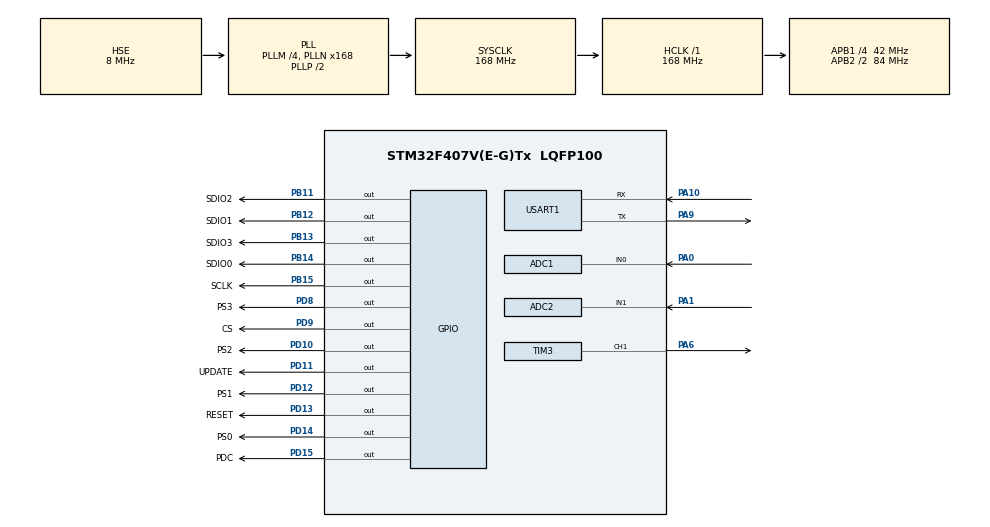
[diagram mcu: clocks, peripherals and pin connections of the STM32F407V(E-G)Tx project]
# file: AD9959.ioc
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ADC1.Channel-0\#ChannelRegularConversion=ADC_CHANNEL_0
ADC1.DMAContinuousRequests=ENABLE
ADC1.ExternalTrigConv=ADC_EXTERNALTRIGCONV_T3_TRGO
ADC1.NbrOfConversionFlag=1
ADC1.Rank-0\#ChannelRegularConversion=1
ADC1.Resolution=ADC_RESOLUTION_12B
ADC1.SamplingTime-0\#ChannelRegularConversion=ADC_SAMPLETIME_3CYCLES
ADC1.master=1
ADC2.Channel-0\#ChannelRegularConversion=ADC_CHANNEL_1
ADC2.DMAContinuousRequests=ENABLE
ADC2.ExternalTrigConv=ADC_EXTERNALTRIGCONV_T3_TRGO
ADC2.NbrOfConversionFlag=1
ADC2.ScanConvMode=DISABLE
Dma.ADC1.0.Direction=DMA_PERIPH_TO_MEMORY
Dma.ADC1.0.FIFOMode=DMA_FIFOMODE_DISABLE
Dma.ADC1.0.Instance=DMA2_Stream0
Dma.ADC1.0.MemDataAlignment=DMA_MDATAALIGN_HALFWORD
Dma.ADC1.0.MemInc=DMA_MINC_ENABLE
Dma.ADC1.0.Mode=DMA_NORMAL
Dma.ADC1.0.PeriphDataAlignment=DMA_PDATAALIGN_HALFWORD
Dma.ADC1.0.PeriphInc=DMA_PINC_DISABLE
Dma.ADC1.0.Priority=DMA_PRIORITY_LOW
Dma.ADC2.1.Direction=DMA_PERIPH_TO_MEMORY
Dma.ADC2.1.FIFOMode=DMA_FIFOMODE_DISABLE
Dma.ADC2.1.Instance=DMA2_Stream2
Dma.ADC2.1.MemDataAlignment=DMA_MDATAALIGN_HALFWORD
Dma.ADC2.1.MemInc=DMA_MINC_ENABLE
Dma.ADC2.1.Mode=DMA_NORMAL
Dma.ADC2.1.PeriphDataAlignment=DMA_PDATAALIGN_HALFWORD
Dma.ADC2.1.PeriphInc=DMA_PINC_DISABLE
Dma.ADC2.1.Priority=DMA_PRIORITY_LOW
Dma.Request0=ADC1
Dma.Request1=ADC2
Mcu.Family=STM32F4
Mcu.Name=STM32F407V(E-G)Tx
Mcu.Package=LQFP100
NVIC.DMA2_Stream0_IRQn=true\:0\:0\:false\:false\:true\:false\:true\:true
NVIC.DMA2_Stream2_IRQn=true\:0\:0\:false\:false\:true\:false\:true\:true
NVIC.PriorityGroup=NVIC_PRIORITYGROUP_4
PA0-WKUP.Signal=ADCx_IN0
PA1.Signal=ADCx_IN1
PA10.Mode=Asynchronous
PA10.Signal=USART1_RX
PA13.Mode=Serial_Wire
PA13.Signal=SYS_JTMS-SWDIO
PA14.Mode=Serial_Wire
PA14.Signal=SYS_JTCK-SWCLK
PA6.Signal=S_TIM3_CH1
PA9.Mode=Asynchronous
PA9.Signal=USART1_TX
PB11.GPIO_Label=SDIO2
PB11.GPIO_Speed=GPIO_SPEED_FREQ_HIGH
PB11.Signal=GPIO_Output
PB12.GPIO_Label=SDIO1
PB12.GPIO_Speed=GPIO_SPEED_FREQ_HIGH
PB12.Signal=GPIO_Output
PB13.GPIO_Label=SDIO3
PB13.GPIO_Speed=GPIO_SPEED_FREQ_HIGH
PB13.Signal=GPIO_Output
PB14.GPIO_Label=SDIO0
PB14.GPIO_Speed=GPIO_SPEED_FREQ_HIGH
PB14.Signal=GPIO_Output
PB15.GPIO_Label=SCLK
PB15.GPIO_Speed=GPIO_SPEED_FREQ_HIGH
PB15.Signal=GPIO_Output
PD10.GPIO_Label=PS2
PD10.GPIO_Speed=GPIO_SPEED_FREQ_HIGH
PD10.Signal=GPIO_Output
PD11.GPIO_Label=UPDATE
PD11.GPIO_Speed=GPIO_SPEED_FREQ_HIGH
PD11.Signal=GPIO_Output
PD12.GPIO_Label=PS1
PD12.GPIO_Speed=GPIO_SPEED_FREQ_HIGH
PD12.Signal=GPIO_Output
PD13.GPIO_Label=RESET
PD13.GPIO_Speed=GPIO_SPEED_FREQ_HIGH
PD13.Signal=GPIO_Output
PD14.GPIO_Label=PS0
PD14.GPIO_Speed=GPIO_SPEED_FREQ_HIGH
PD14.Signal=GPIO_Output
PD15.GPIO_Label=PDC
PD15.GPIO_Speed=GPIO_SPEED_FREQ_HIGH
PD15.PinState=GPIO_PIN_RESET
PD15.Signal=GPIO_Output
PD8.GPIO_Label=PS3
PD8.GPIO_Speed=GPIO_SPEED_FREQ_HIGH
PD8.Signal=GPIO_Output
PD9.GPIO_Label=CS
PD9.GPIO_Speed=GPIO_SPEED_FREQ_HIGH
PD9.Signal=GPIO_Output
PH0-OSC_IN.Mode=HSE-External-Oscillator
PH0-OSC_IN.Signal=RCC_OSC_IN
PH1-OSC_OUT.Mode=HSE-External-Oscillator
PH1-OSC_OUT.Signal=RCC_OSC_OUT
ProjectManager.HeapSize=0x200
ProjectManager.StackSize=0x400
ProjectManager.TargetToolchain=MDK-ARM V5.32
RCC.48MHZClocksFreq_Value=84000000
RCC.AHBFreq_Value=168000000
RCC.APB1CLKDivider=RCC_HCLK_DIV4
RCC.APB1Freq_Value=42000000
RCC.APB1TimFreq_Value=84000000
RCC.APB2CLKDivider=RCC_HCLK_DIV2
RCC.APB2Freq_Value=84000000
RCC.APB2TimFreq_Value=168000000
RCC.CortexFreq_Value=168000000
RCC.HCLKFreq_Value=168000000
RCC.HSE_VALUE=8000000
RCC.HSI_VALUE=16000000
RCC.LSE_VALUE=32768
RCC.PLLM=4
RCC.PLLN=168
RCC.PLLSourceVirtual=RCC_PLLSOURCE_HSE
RCC.SYSCLKFreq_VALUE=168000000
RCC.SYSCLKSource=RCC_SYSCLKSOURCE_PLLCLK
RCC.VCOOutputFreq_Value=336000000
SH.ADCx_IN0.0=ADC1_IN0,IN0
SH.ADCx_IN1.0=ADC2_IN1,IN1
SH.S_TIM3_CH1.0=TIM3_CH1,Forced Output1 CH1
TIM3.AutoReloadPreload=TIM_AUTORELOAD_PRELOAD_ENABLE
TIM3.Channel-Forced\ Output1\ CH1=TIM_CHANNEL_1
TIM3.Period=20
TIM3.Prescaler=20
TIM3.TIM_MasterOutputTrigger=TIM_TRGO_UPDATE
USART1.VirtualMode=VM_ASYNC
VP_TIM3_VS_ClockSourceINT.Mode=Internal
board=custom

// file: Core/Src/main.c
/* USER CODE BEGIN Header */
/**
  ******************************************************************************
  * @file           : main.c
  * @brief          : Main program body
  ******************************************************************************
  * @attention
  *
  * Copyright (c) 2026 STMicroelectronics.
  * All rights reserved.
  *
  * This software is licensed under terms that can be found in the LICENSE file
  * in the root directory of this software component.
  * If no LICENSE file comes with this software, it is provided AS-IS.
  *
  ******************************************************************************
  */
/* USER CODE END Header */
#include "main.h"
#include "adc.h"
#include "dma.h"
#include "tim.h"
#include "usart.h"
#include "gpio.h"

/* USER CODE BEGIN Includes */
#include "ad9959.h"
#include "arm_math.h"
#include "LMS.h"
/* USER CODE END Includes */

/* USER CODE BEGIN PTD */
#define ADC_BUFFER_SIZE 1024 // 定义ADC缓冲区大小
#define DC_TRACK_ALPHA 0.002f
#define UART_PRINT_DECIM 16U

uint8_t ADC_ConvEnd_1 = 0; // ADC转换完成标志
uint8_t ADC_ConvEnd_2 = 0; // ADC转换完成标志
float p;
uint16_t ADC_Val_1[ADC_BUFFER_SIZE] = {0}; // ADC转换结果缓冲区
uint16_t ADC_Val_2[ADC_BUFFER_SIZE] = {0};
//float single_noise[ADC_BUFFER_SIZE] = {0}; // 存储噪声数据的数组
float out_y[ADC_BUFFER_SIZE] = {0}; // 存储输出数据的数组
float out_error[ADC_BUFFER_SIZE] = {0}; // 存储误差数据的数组
uint16_t lms_x_his[ADC_BUFFER_SIZE];
float lms_ref_block[ADC_BUFFER_SIZE] = {0};
float lms_ref_tail[LMS_M - 1] = {0}; // 保存上一块末尾参考输入，避免块边界瞬态
float ref_dc_est = 0.0f;
float d_dc_est = 0.0f;
float noise[ADC_BUFFER_SIZE] ={0
}; // 存储噪声数据的数组
/* USER CODE END PTD */

void SystemClock_Config(void);

/* USER CODE BEGIN 0 */
void HAL_ADC_ConvCpltCallback(ADC_HandleTypeDef* hadc)
{
  if(hadc->Instance == ADC1)
  {
    ADC_ConvEnd_1 = 1;//设置转换完成标志
  }
  if(hadc->Instance == ADC2)
  {
    ADC_ConvEnd_2 = 1;//设置转换完成标志
  }
}
/* USER CODE END 0 */

int main(void)
{

  /* MCU Configuration--------------------------------------------------------*/

  /* Reset of all peripherals, Initializes the Flash interface and the Systick. */
  HAL_Init();

  /* Configure the system clock */
  SystemClock_Config();

  /* Initialize all configured peripherals */
  MX_GPIO_Init();
  MX_DMA_Init();
  MX_ADC1_Init();
  MX_TIM3_Init();
  MX_USART1_UART_Init();
  MX_ADC2_Init();
  /* USER CODE BEGIN 2 */
  HAL_TIM_Base_Init(&htim3);
  HAL_ADC_Start_DMA(&hadc1, (uint32_t *)ADC_Val_1, ADC_BUFFER_SIZE);
  HAL_ADC_Start_DMA(&hadc2, (uint32_t *)ADC_Val_2, ADC_BUFFER_SIZE);
  HAL_TIM_Base_Start(&htim3);

  /* USER CODE END 2 */

  /* Infinite loop */
  /* USER CODE BEGIN WHILE */
  while (1)
  {

    if(ADC_ConvEnd_1 && ADC_ConvEnd_2)
    {
        ADC_ConvEnd_1 = 0;
        ADC_ConvEnd_2 = 0;
				memset((void *)lms_x, 0, sizeof(lms_x));

        for(uint16_t i = 0; i < ADC_BUFFER_SIZE; i++)
        {
          float x_raw = (float)ADC_Val_2[i] / 4095.0f;
          // ref_dc_est += DC_TRACK_ALPHA * (x_raw - ref_dc_est);
          lms_ref_block[i] = x_raw; //- ref_dc_est;
        }

        for(uint16_t i = 0; i < ADC_BUFFER_SIZE; i++)
        {
          for(uint16_t j = 0; j < LMS_M; j++)
          {
            if(i >= j)
            {
              lms_x[j] = lms_ref_block[i - j];
            }
            else
            {
              uint16_t miss = j - i;
              lms_x[j] = lms_ref_tail[(LMS_M - 1U) - miss];
            }
          }

          float d_raw = (float)ADC_Val_1[i] / 4095.0f;
          d_dc_est += DC_TRACK_ALPHA * (d_raw - d_dc_est);
          lms_input.d = d_raw;// - d_dc_est;
          lms_input.x_ptr = lms_x;
          lms_input.lenth_x = LMS_M;

          LMS_Theory(&lms_input, &lms_output);

          out_y[i] = lms_output.y;
          out_error[i] = lms_output.error;

          Usart1Printf("%f,%f,%f,%f\r\n", out_y[i], out_error[i], d_raw, lms_ref_block[i]);

        }

        for(uint16_t k = 0; k < (LMS_M - 1U); k++)
        {
          lms_ref_tail[k] = lms_ref_block[ADC_BUFFER_SIZE - (LMS_M - 1U) + k];
        }

        HAL_ADC_Start_DMA(&hadc1, (uint32_t *)ADC_Val_1, ADC_BUFFER_SIZE);
        HAL_ADC_Start_DMA(&hadc2, (uint32_t *)ADC_Val_2, ADC_BUFFER_SIZE);
    }

    /* USER CODE END WHILE */

  }
}

void SystemClock_Config(void)
{
  RCC_OscInitTypeDef RCC_OscInitStruct = {0};
  RCC_ClkInitTypeDef RCC_ClkInitStruct = {0};

  /** Configure the main internal regulator output voltage
  */
  __HAL_RCC_PWR_CLK_ENABLE();
  __HAL_PWR_VOLTAGESCALING_CONFIG(PWR_REGULATOR_VOLTAGE_SCALE1);

  /** Initializes the RCC Oscillators according to the specified parameters
  * in the RCC_OscInitTypeDef structure.
  */
  RCC_OscInitStruct.OscillatorType = RCC_OSCILLATORTYPE_HSE;
  RCC_OscInitStruct.HSEState = RCC_HSE_ON;
  RCC_OscInitStruct.PLL.PLLState = RCC_PLL_ON;
  RCC_OscInitStruct.PLL.PLLSource = RCC_PLLSOURCE_HSE;
  RCC_OscInitStruct.PLL.PLLM = 4;
  RCC_OscInitStruct.PLL.PLLN = 168;
  RCC_OscInitStruct.PLL.PLLP = RCC_PLLP_DIV2;
  RCC_OscInitStruct.PLL.PLLQ = 4;
  if (HAL_RCC_OscConfig(&RCC_OscInitStruct) != HAL_OK)
  {
    Error_Handler();
  }

  /** Initializes the CPU, AHB and APB buses clocks
  */
  RCC_ClkInitStruct.ClockType = RCC_CLOCKTYPE_HCLK|RCC_CLOCKTYPE_SYSCLK
                              |RCC_CLOCKTYPE_PCLK1|RCC_CLOCKTYPE_PCLK2;
  RCC_ClkInitStruct.SYSCLKSource = RCC_SYSCLKSOURCE_PLLCLK;
  RCC_ClkInitStruct.AHBCLKDivider = RCC_SYSCLK_DIV1;
  RCC_ClkInitStruct.APB1CLKDivider = RCC_HCLK_DIV4;
  RCC_ClkInitStruct.APB2CLKDivider = RCC_HCLK_DIV2;

  if (HAL_RCC_ClockConfig(&RCC_ClkInitStruct, FLASH_LATENCY_5) != HAL_OK)
  {
    Error_Handler();
  }
}

void Error_Handler(void)
{
  __disable_irq();
  while (1)
  {
  }
}
